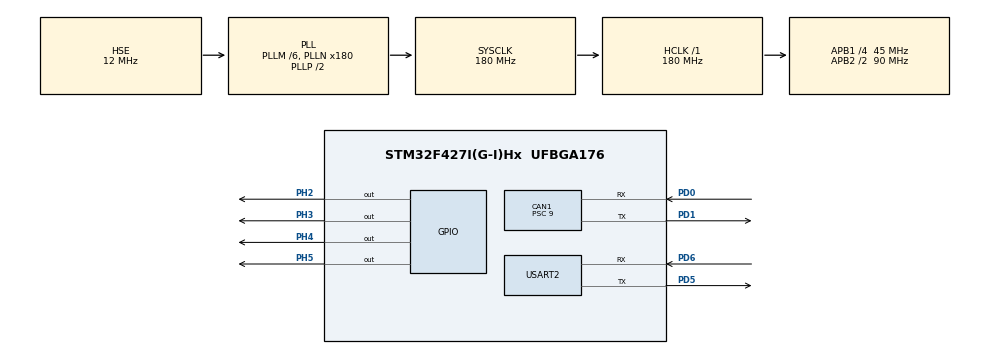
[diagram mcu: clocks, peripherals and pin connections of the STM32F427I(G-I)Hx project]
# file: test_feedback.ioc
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CAN1.ABOM=ENABLE
CAN1.BS1=CAN_BS1_2TQ
CAN1.BS2=CAN_BS2_2TQ
CAN1.CalculateBaudRate=1000000
CAN1.CalculateTimeBit=1000
CAN1.CalculateTimeQuantum=200.0
CAN1.Prescaler=9
Dma.Request0=USART2_RX
Dma.Request1=USART2_TX
Dma.USART2_RX.0.Direction=DMA_PERIPH_TO_MEMORY
Dma.USART2_RX.0.FIFOMode=DMA_FIFOMODE_DISABLE
Dma.USART2_RX.0.Instance=DMA1_Stream5
Dma.USART2_RX.0.MemDataAlignment=DMA_MDATAALIGN_BYTE
Dma.USART2_RX.0.MemInc=DMA_MINC_ENABLE
Dma.USART2_RX.0.Mode=DMA_NORMAL
Dma.USART2_RX.0.PeriphDataAlignment=DMA_PDATAALIGN_BYTE
Dma.USART2_RX.0.PeriphInc=DMA_PINC_DISABLE
Dma.USART2_RX.0.Priority=DMA_PRIORITY_LOW
Dma.USART2_TX.1.Direction=DMA_MEMORY_TO_PERIPH
Dma.USART2_TX.1.FIFOMode=DMA_FIFOMODE_DISABLE
Dma.USART2_TX.1.Instance=DMA1_Stream6
Dma.USART2_TX.1.MemDataAlignment=DMA_MDATAALIGN_BYTE
Dma.USART2_TX.1.MemInc=DMA_MINC_ENABLE
Dma.USART2_TX.1.Mode=DMA_NORMAL
Dma.USART2_TX.1.PeriphDataAlignment=DMA_PDATAALIGN_BYTE
Dma.USART2_TX.1.PeriphInc=DMA_PINC_DISABLE
Dma.USART2_TX.1.Priority=DMA_PRIORITY_LOW
Mcu.Family=STM32F4
Mcu.Name=STM32F427I(G-I)Hx
Mcu.Package=UFBGA176
NVIC.CAN1_RX0_IRQn=true\:0\:0\:false\:false\:true\:true\:true\:true
NVIC.CAN1_RX1_IRQn=true\:0\:0\:false\:false\:true\:true\:true\:true
NVIC.DMA1_Stream5_IRQn=true\:0\:0\:false\:false\:true\:false\:true\:true
NVIC.DMA1_Stream6_IRQn=true\:0\:0\:false\:false\:true\:false\:true\:true
NVIC.PriorityGroup=NVIC_PRIORITYGROUP_4
NVIC.USART2_IRQn=true\:0\:0\:false\:false\:true\:true\:true\:true
PA13.Mode=Serial_Wire
PA13.Signal=SYS_JTMS-SWDIO
PA14.Mode=Serial_Wire
PA14.Signal=SYS_JTCK-SWCLK
PD0.Mode=CAN_Activate
PD0.Signal=CAN1_RX
PD1.Mode=CAN_Activate
PD1.Signal=CAN1_TX
PD5.Mode=Asynchronous
PD5.Signal=USART2_TX
PD6.Mode=Asynchronous
PD6.Signal=USART2_RX
PH0/OSC_IN.Mode=HSE-External-Oscillator
PH0/OSC_IN.Signal=RCC_OSC_IN
PH1/OSC_OUT.Mode=HSE-External-Oscillator
PH1/OSC_OUT.Signal=RCC_OSC_OUT
PH2.GPIO_PuPd=GPIO_PULLDOWN
PH2.Signal=GPIO_Output
PH3.GPIO_PuPd=GPIO_PULLDOWN
PH3.Signal=GPIO_Output
PH4.GPIO_PuPd=GPIO_PULLDOWN
PH4.Signal=GPIO_Output
PH5.GPIO_PuPd=GPIO_PULLDOWN
PH5.Signal=GPIO_Output
ProjectManager.HeapSize=0x200
ProjectManager.StackSize=0x400
ProjectManager.TargetToolchain=MDK-ARM V5.32
RCC.48MHZClocksFreq_Value=90000000
RCC.AHBFreq_Value=180000000
RCC.APB1CLKDivider=RCC_HCLK_DIV4
RCC.APB1Freq_Value=45000000
RCC.APB1TimFreq_Value=90000000
RCC.APB2CLKDivider=RCC_HCLK_DIV2
RCC.APB2Freq_Value=90000000
RCC.APB2TimFreq_Value=180000000
RCC.CortexFreq_Value=180000000
RCC.HCLKFreq_Value=180000000
RCC.HSE_VALUE=12000000
RCC.HSI_VALUE=16000000
RCC.LSE_VALUE=32768
RCC.PLLM=6
RCC.PLLN=180
RCC.PLLSourceVirtual=RCC_PLLSOURCE_HSE
RCC.SYSCLKFreq_VALUE=180000000
RCC.SYSCLKSource=RCC_SYSCLKSOURCE_PLLCLK
RCC.VCOOutputFreq_Value=360000000
USART2.VirtualMode=VM_ASYNC
board=custom

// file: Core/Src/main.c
/* USER CODE BEGIN Header */
/**
 ******************************************************************************
 * @file           : main.c
 * @brief          : Main program body
 ******************************************************************************
 * @attention
 *
 * Copyright (c) 2023 STMicroelectronics.
 * All rights reserved.
 *
 * This software is licensed under terms that can be found in the LICENSE file
 * in the root directory of this software component.
 * If no LICENSE file comes with this software, it is provided AS-IS.
 *
 ******************************************************************************
 */
/* USER CODE END Header */
#include "main.h"
#include "can.h"
#include "dma.h"
#include "usart.h"
#include "gpio.h"

/* USER CODE BEGIN Includes */

#include "stdlib.h"

#include "drv_bsp.h"

#include "dvc_serialplot.h"
#include "dvc_motor.h"

/* USER CODE END Includes */

/* USER CODE BEGIN PV */

Class_Serialplot serialplot;
Class_Motor_C620 motor;

float Target_Angle, Now_Angle, Target_Omega, Now_Omega;

uint32_t Counter = 0;

static char Variable_Assignment_List[][SERIALPLOT_RX_VARIABLE_ASSIGNMENT_MAX_LENGTH] = {
    //电机调PID
    "po",
    "io",
    "do",
    "fo",
};

/* USER CODE END PV */

void SystemClock_Config(void);

/* USER CODE BEGIN 0 */

/**
 * @brief CAN报文回调函数
 *
 * @param Rx_Buffer CAN接收的信息结构体
 */
void CAN_Motor_Call_Back(Struct_CAN_Rx_Buffer *Rx_Buffer)
{
    switch (Rx_Buffer->Header.StdId)
    {
        case (0x201):
        {
            motor.CAN_RxCpltCallback(Rx_Buffer->Data);
        }
        break;
    }
}

/**
 * @brief HAL库UART接收DMA空闲中断
 *
 * @param huart UART编号
 * @param Size 长度
 */
void UART_Serialplot_Call_Back(uint8_t *Buffer, uint16_t Length)
{
    serialplot.UART_RxCpltCallback(Buffer);
    switch (serialplot.Get_Variable_Index())
    {
        // 电机调PID
        case(0):
        {
            motor.PID_Omega.Set_K_P(serialplot.Get_Variable_Value());
        }
        break;
        case(1):
        {
            motor.PID_Omega.Set_K_I(serialplot.Get_Variable_Value());
        }
        break;
        case(2):
        {
            motor.PID_Omega.Set_K_D(serialplot.Get_Variable_Value());
        }
        break;
        case(3):
        {
            motor.PID_Omega.Set_K_F(serialplot.Get_Variable_Value());
        }
        break;
    }
}

/* USER CODE END 0 */

int main(void)
{

    /* MCU Configuration--------------------------------------------------------*/

    /* Reset of all peripherals, Initializes the Flash interface and the Systick. */
    HAL_Init();

    /* Configure the system clock */
    SystemClock_Config();

    /* Initialize all configured peripherals */
    MX_GPIO_Init();
    MX_DMA_Init();
    MX_CAN1_Init();
    MX_USART2_UART_Init();
    /* USER CODE BEGIN 2 */

    BSP_Init(BSP_DC24_LU_ON | BSP_DC24_LD_ON | BSP_DC24_RU_ON | BSP_DC24_RD_ON);
    CAN_Init(&hcan1, CAN_Motor_Call_Back);
    UART_Init(&huart2, UART_Serialplot_Call_Back, SERIALPLOT_RX_VARIABLE_ASSIGNMENT_MAX_LENGTH);

    serialplot.Init(&huart2, 6, (char **)Variable_Assignment_List);

    motor.PID_Omega.Init(1200.0f, 3000.0f, 0.0f, 30000.0f, 16384.0f, 16384.0f);
    //修改为默认减速比了
    motor.Init(&hcan1, CAN_Motor_ID_0x201, Control_Method_OMEGA);

    // 生成0.780~1.045之间的随机数a
    float a = 0.780 + (rand() / (float)RAND_MAX) * (1.045 - 0.780);
    // 生成1.844~2.000之间的随机数w
    float w = 1.844 + (rand() / (float)RAND_MAX) * (2.000 - 1.844);
    // 计算出b
    float b = 2.090 - a;

    /* USER CODE END 2 */

    /* Infinite loop */
    /* USER CODE BEGIN WHILE */
    while (1)
    {
        Counter++;
        // 按照a*sin(w*t)+b计算出电机的目标角速度
        float motor_target_omega = a * sin(w * Counter / 1000.0f) + b;
        motor.Set_Target_Omega(motor_target_omega);

        //串口绘图显示内容

        Target_Omega = motor.Get_Target_Omega();
        Now_Omega = motor.Get_Now_Omega();
        serialplot.Set_Data(5, &Target_Omega, &Now_Omega, &a, &w, &b);
        serialplot.TIM_Write_PeriodElapsedCallback();

        //输出数据到电机
        motor.TIM_PID_PeriodElapsedCallback();

        //通信设备回调数据
        TIM_CAN_PeriodElapsedCallback();
        TIM_UART_PeriodElapsedCallback();

        //延时1ms
        HAL_Delay(0);
        /* USER CODE END WHILE */

    }
}

void SystemClock_Config(void)
{
    RCC_OscInitTypeDef RCC_OscInitStruct = {0};
    RCC_ClkInitTypeDef RCC_ClkInitStruct = {0};

    /** Configure the main internal regulator output voltage
     */
    __HAL_RCC_PWR_CLK_ENABLE();
    __HAL_PWR_VOLTAGESCALING_CONFIG(PWR_REGULATOR_VOLTAGE_SCALE1);

    /** Initializes the RCC Oscillators according to the specified parameters
     * in the RCC_OscInitTypeDef structure.
     */
    RCC_OscInitStruct.OscillatorType = RCC_OSCILLATORTYPE_HSE;
    RCC_OscInitStruct.HSEState = RCC_HSE_ON;
    RCC_OscInitStruct.PLL.PLLState = RCC_PLL_ON;
    RCC_OscInitStruct.PLL.PLLSource = RCC_PLLSOURCE_HSE;
    RCC_OscInitStruct.PLL.PLLM = 6;
    RCC_OscInitStruct.PLL.PLLN = 180;
    RCC_OscInitStruct.PLL.PLLP = RCC_PLLP_DIV2;
    RCC_OscInitStruct.PLL.PLLQ = 4;
    if (HAL_RCC_OscConfig(&RCC_OscInitStruct) != HAL_OK)
    {
        Error_Handler();
    }

    /** Activate the Over-Drive mode
     */
    if (HAL_PWREx_EnableOverDrive() != HAL_OK)
    {
        Error_Handler();
    }

    /** Initializes the CPU, AHB and APB buses clocks
     */
    RCC_ClkInitStruct.ClockType = RCC_CLOCKTYPE_HCLK | RCC_CLOCKTYPE_SYSCLK | RCC_CLOCKTYPE_PCLK1 | RCC_CLOCKTYPE_PCLK2;
    RCC_ClkInitStruct.SYSCLKSource = RCC_SYSCLKSOURCE_PLLCLK;
    RCC_ClkInitStruct.AHBCLKDivider = RCC_SYSCLK_DIV1;
    RCC_ClkInitStruct.APB1CLKDivider = RCC_HCLK_DIV4;
    RCC_ClkInitStruct.APB2CLKDivider = RCC_HCLK_DIV2;

    if (HAL_RCC_ClockConfig(&RCC_ClkInitStruct, FLASH_LATENCY_5) != HAL_OK)
    {
        Error_Handler();
    }
}

void Error_Handler(void)
{
    __disable_irq();
    while (1)
    {
    }
}
